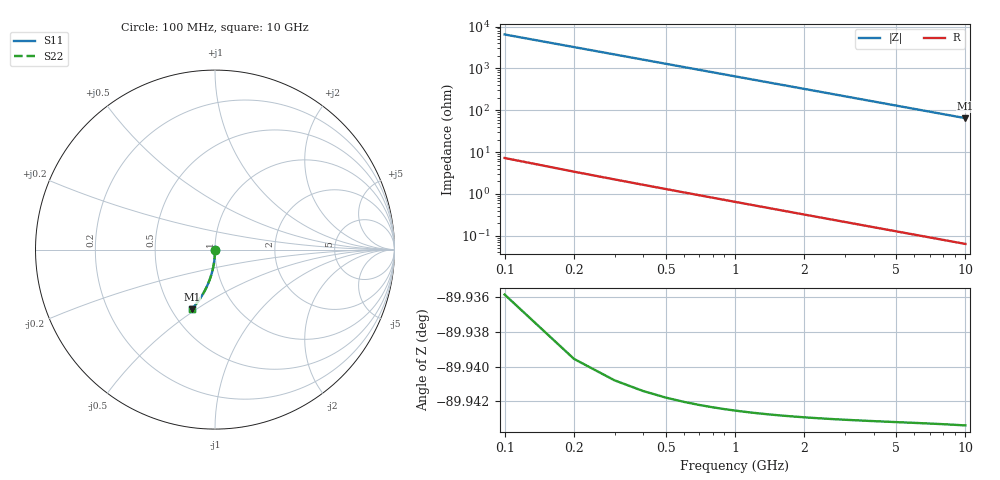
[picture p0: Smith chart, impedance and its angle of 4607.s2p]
# Hz S RI R 50.00
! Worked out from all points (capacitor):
!   100 points, 100 MHz to 10 GHz, reference 50 ohm
!   read as one part in shunt: C = 246 fF near 100 MHz
!   lowest |Z| = 64.9 ohm at 10 GHz (marker M1)
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1e8  -4.25e-06 -0.00383  1 -0.0039  1 -0.0039  -4.25e-06 -0.00383
2e8  -5.27e-05 -0.00765  0.9999 -0.0078  0.9999 -0.0078  -5.27e-05 -0.00765
3e8  -0.000131 -0.0115  0.9998 -0.0117  0.9998 -0.0117  -0.000131 -0.0115
4e8  -0.000239 -0.0153  0.9997 -0.0156  0.9997 -0.0156  -0.000239 -0.0153
5e8  -0.000377 -0.0191  0.9996 -0.0195  0.9996 -0.0195  -0.000377 -0.0191
6e8  -0.000545 -0.0229  0.9994 -0.0234  0.9994 -0.0234  -0.000545 -0.0229
7e8  -0.000742 -0.0268  0.9992 -0.0273  0.9992 -0.0273  -0.000742 -0.0268
8e8  -0.000969 -0.0306  0.999 -0.0312  0.999 -0.0312  -0.000969 -0.0306
9e8  -0.00123 -0.0344  0.9987 -0.0351  0.9987 -0.0351  -0.00123 -0.0344
1.1e9  -0.00183 -0.042  0.9981 -0.0428  0.9981 -0.0428  -0.00183 -0.042
1.4e9  -0.00295 -0.0534  0.997 -0.0544  0.997 -0.0544  -0.00295 -0.0534
1.8e9  -0.00486 -0.0685  0.9951 -0.0699  0.9951 -0.0699  -0.00486 -0.0685
2.1e9  -0.0066 -0.0798  0.9934 -0.0814  0.9934 -0.0814  -0.0066 -0.0798
2.5e9  -0.00931 -0.0947  0.9907 -0.0966  0.9907 -0.0966  -0.00931 -0.0947
2.9e9  -0.0125 -0.1095  0.9875 -0.1117  0.9875 -0.1117  -0.0125 -0.1095
3.4e9  -0.0171 -0.1278  0.9829 -0.1303  0.9829 -0.1303  -0.0171 -0.1278
4.2e9  -0.0258 -0.1564  0.9742 -0.1596  0.9742 -0.1596  -0.0258 -0.1564
5.1e9  -0.0375 -0.1876  0.9625 -0.1914  0.9625 -0.1914  -0.0375 -0.1876
5.9e9  -0.0495 -0.2143  0.9504 -0.2187  0.9504 -0.2187  -0.0495 -0.2143
6.7e9  -0.0629 -0.2398  0.937 -0.2449  0.937 -0.2449  -0.0629 -0.2398
8.4e9  -0.0954 -0.2901  0.9046 -0.2965  0.9046 -0.2965  -0.0954 -0.2901
1e10  -0.1299 -0.3319  0.87 -0.3395  0.87 -0.3395  -0.1299 -0.3319
